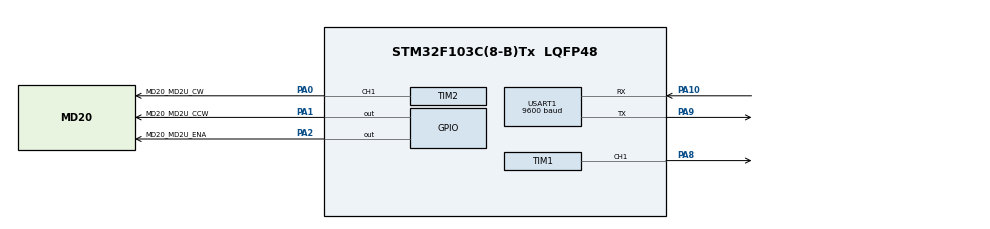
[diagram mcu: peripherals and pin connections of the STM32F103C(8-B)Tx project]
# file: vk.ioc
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Mcu.Family=STM32F1
Mcu.Name=STM32F103C(8-B)Tx
Mcu.Package=LQFP48
NVIC.PriorityGroup=NVIC_PRIORITYGROUP_4
NVIC.TIM1_UP_IRQn=true\:0\:0\:false\:false\:true\:true\:true\:true
NVIC.USART1_IRQn=true\:1\:0\:true\:false\:true\:true\:true\:true
PA0-WKUP.GPIO_Label=MD20_MD2U_CW
PA0-WKUP.Signal=S_TIM2_CH1_ETR
PA1.GPIO_Label=MD20_MD2U_CCW
PA1.GPIO_PuPd=GPIO_PULLUP
PA1.Signal=GPIO_Output
PA10.Mode=Asynchronous
PA10.Signal=USART1_RX
PA2.GPIO_Label=MD20_MD2U_ENA
PA2.GPIO_PuPd=GPIO_PULLUP
PA2.Signal=GPIO_Output
PA8.Signal=S_TIM1_CH1
PA9.Mode=Asynchronous
PA9.Signal=USART1_TX
ProjectManager.HeapSize=0x200
ProjectManager.StackSize=0x400
ProjectManager.TargetToolchain=STM32CubeIDE
RCC.APB1Freq_Value=8000000
RCC.APB2Freq_Value=8000000
SH.S_TIM1_CH1.0=TIM1_CH1,PWM Generation1 CH1
SH.S_TIM2_CH1_ETR.0=TIM2_CH1,PWM Generation1 CH1
TIM1.Channel-PWM\ Generation1\ CH1=TIM_CHANNEL_1
TIM1.Period=999
TIM1.Prescaler=8
TIM1.Pulse-PWM\ Generation1\ CH1=499
TIM2.Channel-PWM\ Generation1\ CH1=TIM_CHANNEL_1
TIM2.Period=999
TIM2.Prescaler=8
TIM2.Pulse-PWM\ Generation1\ CH1=499
USART1.BaudRate=9600
USART1.VirtualMode=VM_ASYNC
VP_SYS_VS_ND.Mode=No_Debug
VP_TIM1_VS_ClockSourceINT.Mode=Internal
VP_TIM2_VS_ClockSourceINT.Mode=Internal
board=custom

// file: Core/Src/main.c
/* USER CODE BEGIN Header */
/**
  ******************************************************************************
  * @file           : main.c
  * @brief          : Main program body
  ******************************************************************************
  * @attention
  *
  * Copyright (c) 2025 STMicroelectronics.
  * All rights reserved.
  *
  * This software is licensed under terms that can be found in the LICENSE file
  * in the root directory of this software component.
  * If no LICENSE file comes with this software, it is provided AS-IS.
  *
  *Thu xung de cho stepper quay duoc
  *Thu Chinh chan CCW de doi chieu quay
  *them uart de chinh mode
  *xem khi nao quay het 1 vong va hoan thien mode 3
  ******************************************************************************
  */
/* USER CODE END Header */
#include "main.h"

TIM_HandleTypeDef htim1;
TIM_HandleTypeDef htim2;

UART_HandleTypeDef huart1;

/* USER CODE BEGIN PV */
volatile uint32_t flag=0;
volatile uint32_t vong=0;
uint8_t last=0;
uint8_t nhap_vong;
uint8_t mode=0;
char rxByte=0;
char buffer[64];
/* USER CODE END PV */

void SystemClock_Config(void);
static void MX_GPIO_Init(void);
static void MX_TIM2_Init(void);
static void MX_TIM1_Init(void);
static void MX_USART1_UART_Init(void);

int main(void)
{

  /* MCU Configuration--------------------------------------------------------*/

  /* Reset of all peripherals, Initializes the Flash interface and the Systick. */
  HAL_Init();

  /* Configure the system clock */
  SystemClock_Config();

  /* Initialize all configured peripherals */
  MX_GPIO_Init();
  MX_TIM2_Init();
  MX_TIM1_Init();
  MX_USART1_UART_Init();
  /* USER CODE BEGIN 2 */
  HAL_UART_Receive_IT(&huart1, &rxByte, 1);
  HAL_TIM_PWM_Start(&htim1, TIM_CHANNEL_1);
  /* USER CODE END 2 */

  /* Infinite loop */
  while (1)
  {

  }
}

void SystemClock_Config(void)
{
  RCC_OscInitTypeDef RCC_OscInitStruct = {0};
  RCC_ClkInitTypeDef RCC_ClkInitStruct = {0};

  /** Initializes the RCC Oscillators according to the specified parameters
  * in the RCC_OscInitTypeDef structure.
  */
  RCC_OscInitStruct.OscillatorType = RCC_OSCILLATORTYPE_HSI;
  RCC_OscInitStruct.HSIState = RCC_HSI_ON;
  RCC_OscInitStruct.HSICalibrationValue = RCC_HSICALIBRATION_DEFAULT;
  RCC_OscInitStruct.PLL.PLLState = RCC_PLL_NONE;
  if (HAL_RCC_OscConfig(&RCC_OscInitStruct) != HAL_OK)
  {
    Error_Handler();
  }

  /** Initializes the CPU, AHB and APB buses clocks
  */
  RCC_ClkInitStruct.ClockType = RCC_CLOCKTYPE_HCLK|RCC_CLOCKTYPE_SYSCLK
                              |RCC_CLOCKTYPE_PCLK1|RCC_CLOCKTYPE_PCLK2;
  RCC_ClkInitStruct.SYSCLKSource = RCC_SYSCLKSOURCE_HSI;
  RCC_ClkInitStruct.AHBCLKDivider = RCC_SYSCLK_DIV1;
  RCC_ClkInitStruct.APB1CLKDivider = RCC_HCLK_DIV1;
  RCC_ClkInitStruct.APB2CLKDivider = RCC_HCLK_DIV1;

  if (HAL_RCC_ClockConfig(&RCC_ClkInitStruct, FLASH_LATENCY_0) != HAL_OK)
  {
    Error_Handler();
  }
}

static void MX_TIM1_Init(void)
{

  TIM_ClockConfigTypeDef sClockSourceConfig = {0};
  TIM_MasterConfigTypeDef sMasterConfig = {0};
  TIM_OC_InitTypeDef sConfigOC = {0};
  TIM_BreakDeadTimeConfigTypeDef sBreakDeadTimeConfig = {0};

  htim1.Instance = TIM1;
  htim1.Init.Prescaler = 8;
  htim1.Init.CounterMode = TIM_COUNTERMODE_UP;
  htim1.Init.Period = 999;
  htim1.Init.ClockDivision = TIM_CLOCKDIVISION_DIV1;
  htim1.Init.RepetitionCounter = 0;
  htim1.Init.AutoReloadPreload = TIM_AUTORELOAD_PRELOAD_DISABLE;
  if (HAL_TIM_Base_Init(&htim1) != HAL_OK)
  {
    Error_Handler();
  }
  sClockSourceConfig.ClockSource = TIM_CLOCKSOURCE_INTERNAL;
  if (HAL_TIM_ConfigClockSource(&htim1, &sClockSourceConfig) != HAL_OK)
  {
    Error_Handler();
  }
  if (HAL_TIM_PWM_Init(&htim1) != HAL_OK)
  {
    Error_Handler();
  }
  sMasterConfig.MasterOutputTrigger = TIM_TRGO_RESET;
  sMasterConfig.MasterSlaveMode = TIM_MASTERSLAVEMODE_DISABLE;
  if (HAL_TIMEx_MasterConfigSynchronization(&htim1, &sMasterConfig) != HAL_OK)
  {
    Error_Handler();
  }
  sConfigOC.OCMode = TIM_OCMODE_PWM1;
  sConfigOC.Pulse = 499;
  sConfigOC.OCPolarity = TIM_OCPOLARITY_HIGH;
  sConfigOC.OCNPolarity = TIM_OCNPOLARITY_HIGH;
  sConfigOC.OCFastMode = TIM_OCFAST_DISABLE;
  sConfigOC.OCIdleState = TIM_OCIDLESTATE_RESET;
  sConfigOC.OCNIdleState = TIM_OCNIDLESTATE_RESET;
  if (HAL_TIM_PWM_ConfigChannel(&htim1, &sConfigOC, TIM_CHANNEL_1) != HAL_OK)
  {
    Error_Handler();
  }
  sBreakDeadTimeConfig.OffStateRunMode = TIM_OSSR_DISABLE;
  sBreakDeadTimeConfig.OffStateIDLEMode = TIM_OSSI_DISABLE;
  sBreakDeadTimeConfig.LockLevel = TIM_LOCKLEVEL_OFF;
  sBreakDeadTimeConfig.DeadTime = 0;
  sBreakDeadTimeConfig.BreakState = TIM_BREAK_DISABLE;
  sBreakDeadTimeConfig.BreakPolarity = TIM_BREAKPOLARITY_HIGH;
  sBreakDeadTimeConfig.AutomaticOutput = TIM_AUTOMATICOUTPUT_DISABLE;
  if (HAL_TIMEx_ConfigBreakDeadTime(&htim1, &sBreakDeadTimeConfig) != HAL_OK)
  {
    Error_Handler();
  }
  HAL_TIM_MspPostInit(&htim1);

}

static void MX_TIM2_Init(void)
{

  TIM_ClockConfigTypeDef sClockSourceConfig = {0};
  TIM_MasterConfigTypeDef sMasterConfig = {0};
  TIM_OC_InitTypeDef sConfigOC = {0};

  htim2.Instance = TIM2;
  htim2.Init.Prescaler = 8;
  htim2.Init.CounterMode = TIM_COUNTERMODE_UP;
  htim2.Init.Period = 999;
  htim2.Init.ClockDivision = TIM_CLOCKDIVISION_DIV1;
  htim2.Init.AutoReloadPreload = TIM_AUTORELOAD_PRELOAD_DISABLE;
  if (HAL_TIM_Base_Init(&htim2) != HAL_OK)
  {
    Error_Handler();
  }
  sClockSourceConfig.ClockSource = TIM_CLOCKSOURCE_INTERNAL;
  if (HAL_TIM_ConfigClockSource(&htim2, &sClockSourceConfig) != HAL_OK)
  {
    Error_Handler();
  }
  if (HAL_TIM_PWM_Init(&htim2) != HAL_OK)
  {
    Error_Handler();
  }
  sMasterConfig.MasterOutputTrigger = TIM_TRGO_RESET;
  sMasterConfig.MasterSlaveMode = TIM_MASTERSLAVEMODE_DISABLE;
  if (HAL_TIMEx_MasterConfigSynchronization(&htim2, &sMasterConfig) != HAL_OK)
  {
    Error_Handler();
  }
  sConfigOC.OCMode = TIM_OCMODE_PWM1;
  sConfigOC.Pulse = 499;
  sConfigOC.OCPolarity = TIM_OCPOLARITY_HIGH;
  sConfigOC.OCFastMode = TIM_OCFAST_DISABLE;
  if (HAL_TIM_PWM_ConfigChannel(&htim2, &sConfigOC, TIM_CHANNEL_1) != HAL_OK)
  {
    Error_Handler();
  }
  HAL_TIM_MspPostInit(&htim2);

}

static void MX_USART1_UART_Init(void)
{

  huart1.Instance = USART1;
  huart1.Init.BaudRate = 9600;
  huart1.Init.WordLength = UART_WORDLENGTH_8B;
  huart1.Init.StopBits = UART_STOPBITS_1;
  huart1.Init.Parity = UART_PARITY_NONE;
  huart1.Init.Mode = UART_MODE_TX_RX;
  huart1.Init.HwFlowCtl = UART_HWCONTROL_NONE;
  huart1.Init.OverSampling = UART_OVERSAMPLING_16;
  if (HAL_UART_Init(&huart1) != HAL_OK)
  {
    Error_Handler();
  }

}

static void MX_GPIO_Init(void)
{
  GPIO_InitTypeDef GPIO_InitStruct = {0};

  /* GPIO Ports Clock Enable */
  __HAL_RCC_GPIOA_CLK_ENABLE();

  /*Configure GPIO pin Output Level */
  HAL_GPIO_WritePin(GPIOA, MD20_MD2U_CCW_Pin|MD20_MD2U_ENA_Pin, GPIO_PIN_RESET);

  /*Configure GPIO pins : MD20_MD2U_CCW_Pin MD20_MD2U_ENA_Pin */
  GPIO_InitStruct.Pin = MD20_MD2U_CCW_Pin|MD20_MD2U_ENA_Pin;
  GPIO_InitStruct.Mode = GPIO_MODE_OUTPUT_PP;
  GPIO_InitStruct.Pull = GPIO_PULLUP;
  GPIO_InitStruct.Speed = GPIO_SPEED_FREQ_LOW;
  HAL_GPIO_Init(GPIOA, &GPIO_InitStruct);

}

/* USER CODE BEGIN 4 */

void printf_uart(const char *mess) {
    HAL_UART_Transmit(&huart1, (uint8_t *)mess, strlen(mess), 500);
}

void HAL_UART_RxCpltCallback(UART_HandleTypeDef *huart){
    if (huart->Instance == USART1) {
        HAL_GPIO_WritePin(MD20_MD2U_ENA_GPIO_Port, MD20_MD2U_ENA_Pin, GPIO_PIN_SET); // DISENABLE động cơ
        if(last == 0 ){
            mode = rxByte - '0'; // do giá trị UART nhận được là ASCII nên -'0' để đưa về INT
            if(mode == 3) {
            	HAL_TIM_Base_Stop_IT(&htim1);
                last = 1;
                HAL_GPIO_WritePin(MD20_MD2U_ENA_GPIO_Port, MD20_MD2U_ENA_Pin, GPIO_PIN_SET); // DISENABLE động cơ
                printf_uart("bam so chon\n0. thoat\n1. thuan\n2. nguoc\n ");
            }
            else{
            	HAL_TIM_Base_Start_IT(&htim1);
            	HAL_GPIO_WritePin(MD20_MD2U_ENA_GPIO_Port, MD20_MD2U_ENA_Pin, GPIO_PIN_RESET); // ENABLE
            }
        }
        else {
        	if(rxByte=='0'){
        		last=0;
        	}
        	else{
				if(last==1){
					if(rxByte=='1'){
						HAL_GPIO_WritePin(MD20_MD2U_CCW_GPIO_Port, MD20_MD2U_CCW_Pin, GPIO_PIN_RESET);
					}
					else{
						HAL_GPIO_WritePin(MD20_MD2U_CCW_GPIO_Port, MD20_MD2U_CCW_Pin, GPIO_PIN_SET);
					}
					last++;
				}
				else{
					HAL_TIM_Base_Start_IT(&htim1);
					vong = 0;
					flag=0;
					nhap_vong = rxByte - '0';
					last=1;
					HAL_GPIO_WritePin(MD20_MD2U_ENA_GPIO_Port, MD20_MD2U_ENA_Pin, GPIO_PIN_RESET);
				}
        	}
        }

        HAL_UART_Receive_IT(&huart1, (uint8_t*)&rxByte, 1);
    }
}

void HAL_TIM_PeriodElapsedCallback(TIM_HandleTypeDef *htim){
    if(htim->Instance == TIM1){

        if(mode != 3 && mode!=0){
        	flag++;
            if(flag >= 199){
                if(mode == 2){
                	vong++;
					sprintf(buffer, "vong : %lu\r\n", vong);
					printf_uart(buffer);
                	printf_uart("nguoc lai\n");
                    HAL_GPIO_TogglePin(MD20_MD2U_CCW_GPIO_Port, MD20_MD2U_CCW_Pin);
                }
                else{
                	HAL_GPIO_WritePin(MD20_MD2U_ENA_GPIO_Port, MD20_MD2U_ENA_Pin, GPIO_PIN_SET);
                	HAL_TIM_Base_Stop_IT(&htim1);
                }
                flag=0;
            }
        }
        else {
        	flag++;
        	if(flag >= 199){
				flag=0;
				vong++;
				sprintf(buffer, "vong : %lu\r\n", vong);
				printf_uart(buffer);
				if(vong == nhap_vong){
					printf_uart("bam so chon\n0. thoat\n1. thuan\n2. nguoc\n ");
					HAL_GPIO_WritePin(MD20_MD2U_ENA_GPIO_Port, MD20_MD2U_ENA_Pin, GPIO_PIN_SET); // DISABLE động cơ
					HAL_TIM_Base_Stop_IT(&htim1);
				}
        	}
        }
    }
}

/*
void HAL_TIM_PWM_PulseFinishedCallback(TIM_HandleTypeDef *htim)
{
    if(htim->Instance == TIM1 )
    {
        pwm_count++;
        if(pwm_count >= 200)
        {
            pwm_count = 0;
            soTang++;
            printf("So hien tai = %lu\r\n", soTang);
            HAL_GPIO_TogglePin(MD20_MD2U_CCW_GPIO_Port, MD20_MD2U_CCW_Pin);
        }
    }
}
*/
/* USER CODE END 4 */

void Error_Handler(void)
{
  __disable_irq();
  while (1)
  {
  }
}
